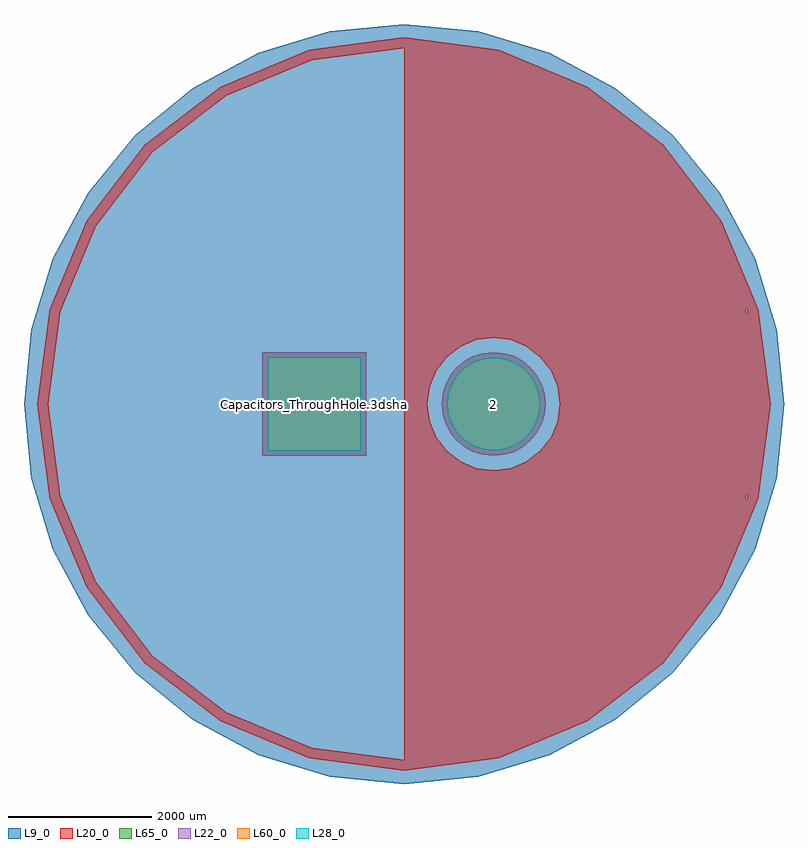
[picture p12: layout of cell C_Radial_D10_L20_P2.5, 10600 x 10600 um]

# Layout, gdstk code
import gdstk
lib = gdstk.Library(unit=1e-6, precision=1e-09)
def R(c, l, rs):  # rectangles x0, y0, x1, y1
    for r in rs: c.add(gdstk.rectangle(r[:2], r[2:], *l))
def P(c, l, *ps):  # polygons
    for p in ps: c.add(gdstk.Polygon(p, *l))
L9_0 = (9, 0)
L20_0 = (20, 0)
L22_0 = (22, 0)
L28_0 = (28, 0)
L60_0 = (60, 0)
L65_0 = (65, 0)

c_radial_d10_l20_p2_5 = lib.new_cell('C_Radial_D10_L20_P2.5')
P(c_radial_d10_l20_p2_5, L9_0, [(6550,0),(6448.162,1033.979),(6146.562,2028.222),(5656.789,2944.522),(4997.666,3747.666),(4194.522,4406.789),(3278.222,4896.562),(2283.979,5198.162),(1250,5300),(216.021,5198.162),(-778.222,4896.562),(-1694.522,4406.789),(-2497.666,3747.666),(-3156.789,2944.522),(-3646.562,2028.222),(-3948.162,1033.979),(-4050,0),(-3948.162,-1033.979),(-3646.562,-2028.222),(-3156.789,-2944.522),(-2497.666,-3747.666),(-1694.522,-4406.789),(-778.222,-4896.562),(216.021,-5198.162),(1250,-5300),(2283.979,-5198.162),(3278.222,-4896.562),(4194.522,-4406.789),(4997.666,-3747.666),(5656.789,-2944.522),(6146.562,-2028.222),(6448.162,-1033.979)])
R(c_radial_d10_l20_p2_5, L22_0, [(-725,-725,725,725)])
P(c_radial_d10_l20_p2_5, L22_0, [(3225,0),(3211.069,141.44),(3169.813,277.445),(3102.815,402.788),(3012.652,512.652),(2902.788,602.815),(2777.445,669.813),(2641.44,711.069),(2500,725),(2358.56,711.069),(2222.555,669.813),(2097.212,602.815),(1987.348,512.652),(1897.185,402.788),(1830.187,277.445),(1788.931,141.44),(1775,0),(1788.931,-141.44),(1830.187,-277.445),(1897.185,-402.788),(1987.348,-512.652),(2097.212,-602.815),(2222.555,-669.813),(2358.56,-711.069),(2500,-725),(2641.44,-711.069),(2777.445,-669.813),(2902.788,-602.815),(3012.652,-512.652),(3102.815,-402.788),(3169.813,-277.445),(3211.069,-141.44)])
R(c_radial_d10_l20_p2_5, L28_0, [(-650,-650,650,650)])
P(c_radial_d10_l20_p2_5, L28_0, [(3150,0),(3137.51,126.809),(3100.522,248.744),(3040.455,361.121),(2959.619,459.619),(2861.121,540.455),(2748.744,600.522),(2626.809,637.51),(2500,650),(2373.191,637.51),(2251.256,600.522),(2138.879,540.455),(2040.381,459.619),(1959.545,361.121),(1899.478,248.744),(1862.49,126.809),(1850,0),(1862.49,-126.809),(1899.478,-248.744),(1959.545,-361.121),(2040.381,-459.619),(2138.879,-540.455),(2251.256,-600.522),(2373.191,-637.51),(2500,-650),(2626.809,-637.51),(2748.744,-600.522),(2861.121,-540.455),(2959.619,-459.619),(3040.455,-361.121),(3100.522,-248.744),(3137.51,-126.809)])
R(c_radial_d10_l20_p2_5, L60_0, [(-650,-650,650,650)])
P(c_radial_d10_l20_p2_5, L60_0, [(3150,0),(3137.51,126.809),(3100.522,248.744),(3040.455,361.121),(2959.619,459.619),(2861.121,540.455),(2748.744,600.522),(2626.809,637.51),(2500,650),(2373.191,637.51),(2251.256,600.522),(2138.879,540.455),(2040.381,459.619),(1959.545,361.121),(1899.478,248.744),(1862.49,126.809),(1850,0),(1862.49,-126.809),(1899.478,-248.744),(1959.545,-361.121),(2040.381,-459.619),(2138.879,-540.455),(2251.256,-600.522),(2373.191,-637.51),(2500,-650),(2626.809,-637.51),(2748.744,-600.522),(2861.121,-540.455),(2959.619,-459.619),(3040.455,-361.121),(3100.522,-248.744),(3137.51,-126.809)])
R(c_radial_d10_l20_p2_5, L65_0, [(-725,-725,725,725)])
P(c_radial_d10_l20_p2_5, L65_0, [(3225,0),(3211.069,141.44),(3169.813,277.445),(3102.815,402.788),(3012.652,512.652),(2902.788,602.815),(2777.445,669.813),(2641.44,711.069),(2500,725),(2358.56,711.069),(2222.555,669.813),(2097.212,602.815),(1987.348,512.652),(1897.185,402.788),(1830.187,277.445),(1788.931,141.44),(1775,0),(1788.931,-141.44),(1830.187,-277.445),(1897.185,-402.788),(1987.348,-512.652),(2097.212,-602.815),(2222.555,-669.813),(2358.56,-711.069),(2500,-725),(2641.44,-711.069),(2777.445,-669.813),(2902.788,-602.815),(3012.652,-512.652),(3102.815,-402.788),(3169.813,-277.445),(3211.069,-141.44)])
c_radial_d10_l20_p2_5.add(gdstk.FlexPath([(1250,5037.5),(-53.801,4865.851),(-1268.75,4362.603),(-2312.05,3562.05),(-3112.603,2518.75),(-3615.851,1303.801),(-3787.5,0),(-3615.851,-1303.801),(-3112.603,-2518.75),(-2312.05,-3562.05),(-1268.75,-4362.603),(-53.801,-4865.851),(1250,-5037.5),(2553.801,-4865.851),(3768.75,-4362.603),(4812.05,-3562.05),(5612.603,-2518.75),(6115.851,-1303.801),(6287.5,0),(6115.851,1303.801),(5612.603,2518.75),(4812.05,3562.05),(3768.75,4362.603),(2553.801,4865.851),(1250,5037.5)], 149.998, ends="flush", simple_path=True, layer=20, datatype=0))  # L20_0
c_radial_d10_l20_p2_5.add(gdstk.FlexPath([(2500,1000),(2241.181,965.926),(2000,866.025),(1792.893,707.107),(1633.975,500),(1534.074,258.819),(1500,0),(1534.074,-258.819),(1633.975,-500),(1792.893,-707.107),(2000,-866.025),(2241.181,-965.926),(2500,-1000),(2758.819,-965.926),(3000,-866.025),(3207.107,-707.107),(3366.025,-500),(3465.926,-258.819),(3500,0),(3465.926,258.819),(3366.025,500),(3207.107,707.107),(3000,866.025),(2758.819,965.926),(2500,1000)], 149.998, ends="flush", simple_path=True, layer=20, datatype=0))  # L20_0
c_radial_d10_l20_p2_5.add(gdstk.FlexPath([(6225,499),(6225,-499)], 149.998, ends="flush", simple_path=True, layer=20, datatype=0))  # L20_0
c_radial_d10_l20_p2_5.add(gdstk.FlexPath([(6085,1274),(6085,-1274)], 149.998, ends="flush", simple_path=True, layer=20, datatype=0))  # L20_0
c_radial_d10_l20_p2_5.add(gdstk.FlexPath([(5945,1720),(5945,-1720)], 149.998, ends="flush", simple_path=True, layer=20, datatype=0))  # L20_0
c_radial_d10_l20_p2_5.add(gdstk.FlexPath([(5805,2062),(5805,-2062)], 149.998, ends="flush", simple_path=True, layer=20, datatype=0))  # L20_0
c_radial_d10_l20_p2_5.add(gdstk.FlexPath([(5665,2347),(5665,-2347)], 149.998, ends="flush", simple_path=True, layer=20, datatype=0))  # L20_0
c_radial_d10_l20_p2_5.add(gdstk.FlexPath([(5525,2593),(5525,-2593)], 149.998, ends="flush", simple_path=True, layer=20, datatype=0))  # L20_0
c_radial_d10_l20_p2_5.add(gdstk.FlexPath([(5385,2811),(5385,-2811)], 149.998, ends="flush", simple_path=True, layer=20, datatype=0))  # L20_0
c_radial_d10_l20_p2_5.add(gdstk.FlexPath([(5245,3007),(5245,-3007)], 149.998, ends="flush", simple_path=True, layer=20, datatype=0))  # L20_0
c_radial_d10_l20_p2_5.add(gdstk.FlexPath([(5105,3184),(5105,-3184)], 149.998, ends="flush", simple_path=True, layer=20, datatype=0))  # L20_0
c_radial_d10_l20_p2_5.add(gdstk.FlexPath([(4965,3346),(4965,-3346)], 149.998, ends="flush", simple_path=True, layer=20, datatype=0))  # L20_0
c_radial_d10_l20_p2_5.add(gdstk.FlexPath([(4825,3496),(4825,-3496)], 149.998, ends="flush", simple_path=True, layer=20, datatype=0))  # L20_0
c_radial_d10_l20_p2_5.add(gdstk.FlexPath([(4685,3633),(4685,-3633)], 149.998, ends="flush", simple_path=True, layer=20, datatype=0))  # L20_0
c_radial_d10_l20_p2_5.add(gdstk.FlexPath([(4545,3761),(4545,-3761)], 149.998, ends="flush", simple_path=True, layer=20, datatype=0))  # L20_0
c_radial_d10_l20_p2_5.add(gdstk.FlexPath([(4405,3879),(4405,-3879)], 149.998, ends="flush", simple_path=True, layer=20, datatype=0))  # L20_0
c_radial_d10_l20_p2_5.add(gdstk.FlexPath([(4265,3989),(4265,-3989)], 149.998, ends="flush", simple_path=True, layer=20, datatype=0))  # L20_0
c_radial_d10_l20_p2_5.add(gdstk.FlexPath([(4125,4091),(4125,-4091)], 149.998, ends="flush", simple_path=True, layer=20, datatype=0))  # L20_0
c_radial_d10_l20_p2_5.add(gdstk.FlexPath([(3985,4186),(3985,-4186)], 149.998, ends="flush", simple_path=True, layer=20, datatype=0))  # L20_0
c_radial_d10_l20_p2_5.add(gdstk.FlexPath([(3845,4274),(3845,-4274)], 149.998, ends="flush", simple_path=True, layer=20, datatype=0))  # L20_0
c_radial_d10_l20_p2_5.add(gdstk.FlexPath([(3705,4356),(3705,-4356)], 149.998, ends="flush", simple_path=True, layer=20, datatype=0))  # L20_0
c_radial_d10_l20_p2_5.add(gdstk.FlexPath([(3565,4432),(3565,-4432)], 149.998, ends="flush", simple_path=True, layer=20, datatype=0))  # L20_0
c_radial_d10_l20_p2_5.add(gdstk.FlexPath([(3425,-380),(3425,-4502)], 149.998, ends="flush", simple_path=True, layer=20, datatype=0))  # L20_0
c_radial_d10_l20_p2_5.add(gdstk.FlexPath([(3425,4502),(3425,380)], 149.998, ends="flush", simple_path=True, layer=20, datatype=0))  # L20_0
c_radial_d10_l20_p2_5.add(gdstk.FlexPath([(3285,-619),(3285,-4567)], 149.998, ends="flush", simple_path=True, layer=20, datatype=0))  # L20_0
c_radial_d10_l20_p2_5.add(gdstk.FlexPath([(3285,4567),(3285,619)], 149.998, ends="flush", simple_path=True, layer=20, datatype=0))  # L20_0
c_radial_d10_l20_p2_5.add(gdstk.FlexPath([(3145,-764),(3145,-4627)], 149.998, ends="flush", simple_path=True, layer=20, datatype=0))  # L20_0
c_radial_d10_l20_p2_5.add(gdstk.FlexPath([(3145,4627),(3145,764)], 149.998, ends="flush", simple_path=True, layer=20, datatype=0))  # L20_0
c_radial_d10_l20_p2_5.add(gdstk.FlexPath([(3005,-863),(3005,-4682)], 149.998, ends="flush", simple_path=True, layer=20, datatype=0))  # L20_0
c_radial_d10_l20_p2_5.add(gdstk.FlexPath([(3005,4682),(3005,863)], 149.998, ends="flush", simple_path=True, layer=20, datatype=0))  # L20_0
c_radial_d10_l20_p2_5.add(gdstk.FlexPath([(2865,-931),(2865,-4732)], 149.998, ends="flush", simple_path=True, layer=20, datatype=0))  # L20_0
c_radial_d10_l20_p2_5.add(gdstk.FlexPath([(2865,4732),(2865,931)], 149.998, ends="flush", simple_path=True, layer=20, datatype=0))  # L20_0
c_radial_d10_l20_p2_5.add(gdstk.FlexPath([(2725,-974),(2725,-4777)], 149.998, ends="flush", simple_path=True, layer=20, datatype=0))  # L20_0
c_radial_d10_l20_p2_5.add(gdstk.FlexPath([(2725,4777),(2725,974)], 149.998, ends="flush", simple_path=True, layer=20, datatype=0))  # L20_0
c_radial_d10_l20_p2_5.add(gdstk.FlexPath([(2585,-996),(2585,-4818)], 149.998, ends="flush", simple_path=True, layer=20, datatype=0))  # L20_0
c_radial_d10_l20_p2_5.add(gdstk.FlexPath([(2585,4818),(2585,996)], 149.998, ends="flush", simple_path=True, layer=20, datatype=0))  # L20_0
c_radial_d10_l20_p2_5.add(gdstk.FlexPath([(2445,-998),(2445,-4855)], 149.998, ends="flush", simple_path=True, layer=20, datatype=0))  # L20_0
c_radial_d10_l20_p2_5.add(gdstk.FlexPath([(2445,4855),(2445,998)], 149.998, ends="flush", simple_path=True, layer=20, datatype=0))  # L20_0
c_radial_d10_l20_p2_5.add(gdstk.FlexPath([(2305,-981),(2305,-4887)], 149.998, ends="flush", simple_path=True, layer=20, datatype=0))  # L20_0
c_radial_d10_l20_p2_5.add(gdstk.FlexPath([(2305,4887),(2305,981)], 149.998, ends="flush", simple_path=True, layer=20, datatype=0))  # L20_0
c_radial_d10_l20_p2_5.add(gdstk.FlexPath([(2165,-942),(2165,-4916)], 149.998, ends="flush", simple_path=True, layer=20, datatype=0))  # L20_0
c_radial_d10_l20_p2_5.add(gdstk.FlexPath([(2165,4916),(2165,942)], 149.998, ends="flush", simple_path=True, layer=20, datatype=0))  # L20_0
c_radial_d10_l20_p2_5.add(gdstk.FlexPath([(2025,-880),(2025,-4940)], 149.998, ends="flush", simple_path=True, layer=20, datatype=0))  # L20_0
c_radial_d10_l20_p2_5.add(gdstk.FlexPath([(2025,4940),(2025,880)], 149.998, ends="flush", simple_path=True, layer=20, datatype=0))  # L20_0
c_radial_d10_l20_p2_5.add(gdstk.FlexPath([(1885,-789),(1885,-4960)], 149.998, ends="flush", simple_path=True, layer=20, datatype=0))  # L20_0
c_radial_d10_l20_p2_5.add(gdstk.FlexPath([(1885,4960),(1885,789)], 149.998, ends="flush", simple_path=True, layer=20, datatype=0))  # L20_0
c_radial_d10_l20_p2_5.add(gdstk.FlexPath([(1745,-656),(1745,-4975)], 149.998, ends="flush", simple_path=True, layer=20, datatype=0))  # L20_0
c_radial_d10_l20_p2_5.add(gdstk.FlexPath([(1745,4975),(1745,656)], 149.998, ends="flush", simple_path=True, layer=20, datatype=0))  # L20_0
c_radial_d10_l20_p2_5.add(gdstk.FlexPath([(1605,-446),(1605,-4987)], 149.998, ends="flush", simple_path=True, layer=20, datatype=0))  # L20_0
c_radial_d10_l20_p2_5.add(gdstk.FlexPath([(1605,4987),(1605,446)], 149.998, ends="flush", simple_path=True, layer=20, datatype=0))  # L20_0
c_radial_d10_l20_p2_5.add(gdstk.FlexPath([(1465,4995),(1465,-4995)], 149.998, ends="flush", simple_path=True, layer=20, datatype=0))  # L20_0
c_radial_d10_l20_p2_5.add(gdstk.FlexPath([(1325,4999),(1325,-4999)], 149.998, ends="flush", simple_path=True, layer=20, datatype=0))  # L20_0
c_radial_d10_l20_p2_5.add(gdstk.Label('Capacitors_ThroughHole.3dshapes/C_Radial_D10_L20_P2.5.wrl', (0,0), layer=12, texttype=0))
c_radial_d10_l20_p2_5.add(gdstk.Label('1', (0,0), layer=28, texttype=0))
c_radial_d10_l20_p2_5.add(gdstk.Label('2', (2500,0), layer=28, texttype=0))
c_radial_d10_l20_p2_5.add(gdstk.Label('type', (1250,-6300), layer=9, texttype=0))
c_radial_d10_l20_p2_5.add(gdstk.Label('devicename', (1250,6300), layer=9, texttype=0))

lib.write_gds('C_Radial_D10_L20_P2.5.gds')
